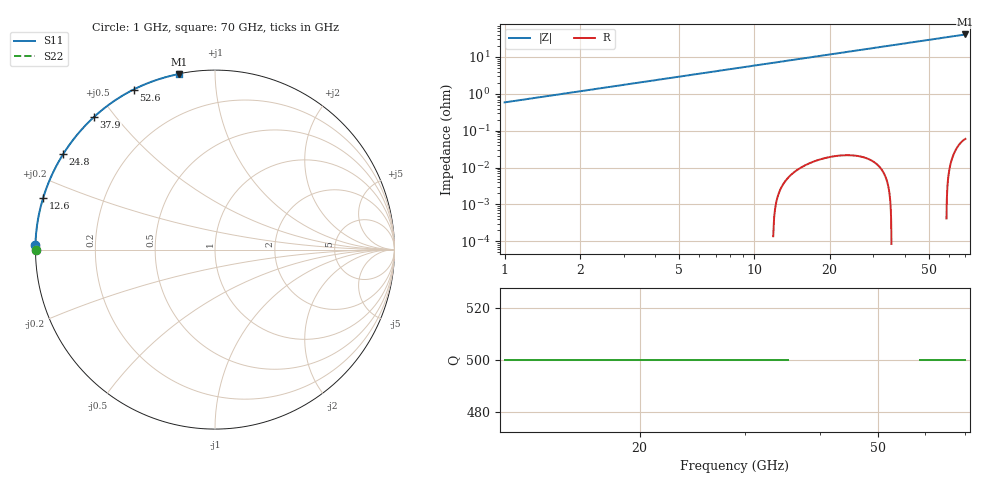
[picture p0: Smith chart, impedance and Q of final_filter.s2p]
! 21-section rectangular-coax + circular-HW LPF
! openEMS full-wave reconstruction
# GHz S DB R 50
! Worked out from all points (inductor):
!   691 points, 1 GHz to 70 GHz, reference 50 ohm
!   read as one part to ground: L = 93.2 pH near 1.3 GHz
!   highest |Z| = 40.8 ohm at 70 GHz (marker M1)
!   S11 on the Smith chart (normalised r, x): 1 GHz: -0.00, +0.01; 12.6 GHz: 0.00, +0.15; 24.8 GHz: 0.00, +0.29; 37.9 GHz: -0.00, +0.44; 52.6 GHz: -0.00, +0.61; 70 GHz: 0.00, +0.82
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1  0.01 178.7  -300.00 0.0  -300.00 0.0  0.00 180.0
1.3  0.01 178.3  -300.00 0.0  -300.00 0.0  0.00 180.0
3.8  0.01 174.9  -300.00 0.0  -300.00 0.0  0.00 180.0
6.7  0.01 171.0  -300.00 180.0  -300.00 180.0  0.00 180.0
9.6  0.00 167.2  -300.00 180.0  -300.00 180.0  0.00 180.0
12.5  -0.00 163.4  -300.00 -180.0  -300.00 -180.0  0.00 180.0
12.6  -0.00 163.3  -300.00 -180.0  -300.00 -180.0  0.00 180.0
15.3  -0.00 159.7  -300.00 -180.0  -300.00 -180.0  -0.00 180.0
18.1  -0.01 156.2  -300.00 -180.0  -300.00 -180.0  -0.00 180.0
21  -0.01 152.5  -300.00 -180.0  -300.00 -180.0  -0.00 180.0
24  -0.01 148.8  -300.00 -180.0  -300.00 -180.0  -0.00 180.0
24.8  -0.01 147.8  -300.00 -180.0  -300.00 -180.0  -0.00 180.0
30.2  -0.00 141.3  -300.00 -0.0  -300.00 -0.0  -0.00 180.0
35.5  0.00 135.1  -300.00 0.0  -300.00 0.0  0.00 180.0
37.9  0.00 132.4  -300.00 0.0  -300.00 0.0  0.00 180.0
42.4  0.01 127.5  -300.00 0.0  -300.00 0.0  0.00 180.0
47  0.01 122.6  -300.00 0.0  -300.00 0.0  0.00 180.0
52.6  0.01 117.0  -300.00 -180.0  -300.00 -180.0  0.00 180.0
55.5  0.00 114.2  -300.00 -180.0  -300.00 -180.0  0.00 180.0
58.5  0.00 111.4  -300.00 -180.0  -300.00 -180.0  0.00 180.0
64.1  -0.01 106.5  -300.00 -180.0  -300.00 -180.0  -0.00 180.0
70  -0.01 101.6  -300.00 -0.0  -300.00 -0.0  -0.00 180.0
